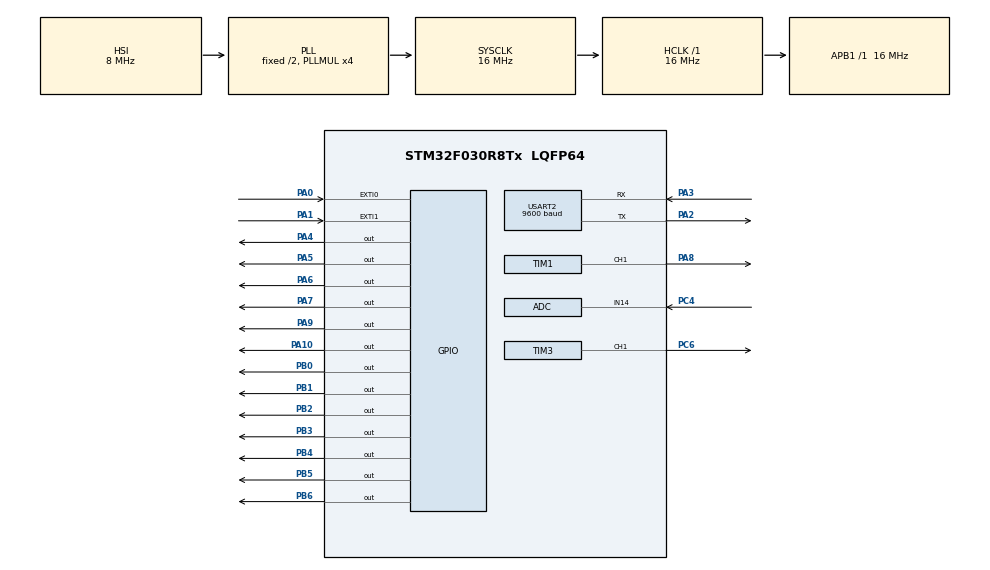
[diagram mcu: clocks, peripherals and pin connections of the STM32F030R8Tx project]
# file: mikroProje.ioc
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ADC.Resolution=ADC_RESOLUTION_6B
ADC.SamplingTime=ADC_SAMPLETIME_1CYCLE_5
Mcu.Family=STM32F0
Mcu.Name=STM32F030R8Tx
Mcu.Package=LQFP64
NVIC.ADC1_IRQn=true\:0\:0\:false\:false\:true\:true\:true
NVIC.EXTI0_1_IRQn=true\:0\:0\:false\:false\:true\:true\:true
NVIC.TIM1_BRK_UP_TRG_COM_IRQn=true\:0\:0\:false\:false\:true\:true\:true
NVIC.TIM3_IRQn=true\:0\:0\:false\:false\:true\:true\:true
NVIC.USART2_IRQn=true\:0\:0\:false\:false\:true\:true\:true
PA0.GPIO_ModeDefaultEXTI=GPIO_MODE_IT_RISING
PA0.Signal=GPXTI0
PA1.GPIO_ModeDefaultEXTI=GPIO_MODE_IT_RISING
PA1.Signal=GPXTI1
PA10.Signal=GPIO_Output
PA2.Mode=Asynchronous
PA2.Signal=USART2_TX
PA3.Mode=Asynchronous
PA3.Signal=USART2_RX
PA4.Signal=GPIO_Output
PA5.Signal=GPIO_Output
PA6.Signal=GPIO_Output
PA7.Signal=GPIO_Output
PA8.Signal=S_TIM1_CH1
PA9.Signal=GPIO_Output
PB0.Signal=GPIO_Output
PB1.Signal=GPIO_Output
PB2.Signal=GPIO_Output
PB3.Signal=GPIO_Output
PB4.Signal=GPIO_Output
PB5.Signal=GPIO_Output
PB6.Signal=GPIO_Output
PC4.Mode=IN14
PC4.Signal=ADC_IN14
PC6.Signal=S_TIM3_CH1
ProjectManager.HeapSize=0x200
ProjectManager.StackSize=0x400
ProjectManager.TargetToolchain=MDK-ARM V5
RCC.AHBFreq_Value=16000000
RCC.APB1Freq_Value=16000000
RCC.APB1TimFreq_Value=16000000
RCC.HCLKFreq_Value=16000000
RCC.PLLMUL=RCC_PLL_MUL4
RCC.SYSCLKFreq_VALUE=16000000
RCC.SYSCLKSource=RCC_SYSCLKSOURCE_PLLCLK
SH.S_TIM1_CH1.0=TIM1_CH1,PWM Generation1 CH1
SH.S_TIM3_CH1.0=TIM3_CH1,PWM Generation1 CH1
TIM1.Channel-PWM\ Generation1\ CH1=TIM_CHANNEL_1
TIM1.Period=1999
TIM1.Prescaler=39999
TIM3.Channel-PWM\ Generation1\ CH1=TIM_CHANNEL_1
TIM3.OCMode_PWM-PWM\ Generation1\ CH1=TIM_OCMODE_PWM1
TIM3.Period=1999
TIM3.Prescaler=3999
USART2.BaudRate=9600
USART2.VirtualMode-Asynchronous=VM_ASYNC
board=custom

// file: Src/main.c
/* USER CODE BEGIN Header */
/**
  **************************
  * @file           : main.c
  * @brief          : Main program body
  **************************
  * @attention
  *
  * <h2><center>&copy; Copyright (c) 2020 STMicroelectronics.
  * All rights reserved.</center></h2>
  *
  * This software component is licensed by ST under BSD 3-Clause license,
  * the "License"; You may not use this file except in compliance with the
  * License. You may obtain a copy of the License at:
  *                        opensource.org/licenses/BSD-3-Clause
  *
  **************************
  */
/* USER CODE END Header */

#include "main.h"

/* USER CODE BEGIN PD */
int adc_value;
int sicak_urun;
int soguk_urun;
int genel_urun = 0;
int run = 0;
int temp = 0;
void portb_yaz(int s)
{
    switch (s)
    {
    case 0:
        GPIOB->ODR = 0x003F;
        break;
    case 1:
        GPIOB->ODR = 0x0006;
        break;
    case 2:
        GPIOB->ODR = 0x005B;
        break;
    case 3:
        GPIOB->ODR = 0x004F;
        break;
    case 4:
        GPIOB->ODR = 0x0066;
        break;
    case 5:
        GPIOB->ODR = 0x006D;
        break;
    case 6:
        GPIOB->ODR = 0x007D;
        break;
    case 7:
        GPIOB->ODR = 0x0007;
        break;
    case 8:
        GPIOB->ODR = 0x007F;
        break;
    case 9:
        GPIOB->ODR = 0x006F;
        break;
    default:
        GPIOB->ODR = 0x003F;
        break;
    }
}
void display()
{
    if (genel_urun != 100 || genel_urun != 199)
    {
        temp = genel_urun;
        int birler_bas = temp % 10;
        temp = temp / 10;
        int on_bas = temp % 10;
        HAL_GPIO_WritePin(GPIOA, GPIO_PIN_10, GPIO_PIN_RESET);
        HAL_GPIO_WritePin(GPIOA, GPIO_PIN_9, GPIO_PIN_RESET);
        portb_yaz(on_bas);
        HAL_GPIO_WritePin(GPIOA, GPIO_PIN_10, GPIO_PIN_SET);
        HAL_GPIO_WritePin(GPIOA, GPIO_PIN_9, GPIO_PIN_RESET);
        HAL_Delay(5);
        HAL_GPIO_WritePin(GPIOA, GPIO_PIN_10, GPIO_PIN_RESET);
        HAL_GPIO_WritePin(GPIOA, GPIO_PIN_9, GPIO_PIN_RESET);

        HAL_GPIO_WritePin(GPIOA, GPIO_PIN_10, GPIO_PIN_RESET);
        HAL_GPIO_WritePin(GPIOA, GPIO_PIN_9, GPIO_PIN_RESET);
        portb_yaz(birler_bas);
        HAL_GPIO_WritePin(GPIOA, GPIO_PIN_10, GPIO_PIN_RESET);
        HAL_GPIO_WritePin(GPIOA, GPIO_PIN_9, GPIO_PIN_SET);
        HAL_Delay(5);
        HAL_GPIO_WritePin(GPIOA, GPIO_PIN_10, GPIO_PIN_RESET);
        HAL_GPIO_WritePin(GPIOA, GPIO_PIN_9, GPIO_PIN_RESET);
    }
    if (genel_urun >= 100 && genel_urun <= 199)
    {
        HAL_GPIO_WritePin(GPIOA, GPIO_PIN_6, GPIO_PIN_SET);
    }
    if (genel_urun >= 200)
    {
        HAL_GPIO_WritePin(GPIOA, GPIO_PIN_6, GPIO_PIN_RESET);
        HAL_Delay(3000);
        HAL_GPIO_WritePin(GPIOA, GPIO_PIN_6, GPIO_PIN_SET);
        HAL_Delay(3000);
    }
}

/* USER CODE END PD */

ADC_HandleTypeDef hadc;

TIM_HandleTypeDef htim1;
TIM_HandleTypeDef htim3;

UART_HandleTypeDef huart2;

void SystemClock_Config(void);
static void MX_GPIO_Init(void);
static void MX_ADC_Init(void);
static void MX_TIM3_Init(void);
static void MX_USART2_UART_Init(void);
static void MX_TIM1_Init(void);

int main(void)
{

  /* MCU Configuration--------------------------------------------------------*/

  /* Reset of all peripherals, Initializes the Flash interface and the Systick. */
  HAL_Init();

  /* Configure the system clock */
  SystemClock_Config();

  /* Initialize all configured peripherals */
  MX_GPIO_Init();
  MX_ADC_Init();
  MX_TIM3_Init();
  MX_USART2_UART_Init();
  MX_TIM1_Init();
  /* USER CODE BEGIN 2 */
	__HAL_UART_ENABLE_IT(&huart2,UART_IT_RXNE);
	HAL_TIM_Base_Start_IT(&htim1);
	HAL_TIM_Base_Start_IT(&htim3);
	HAL_ADC_Start_IT(&hadc);
  /* USER CODE END 2 */

  /* Infinite loop */
  /* USER CODE BEGIN WHILE */
	HAL_TIM_Base_Start_IT(&htim1);
	HAL_TIM_Base_Start_IT(&htim3);
	HAL_ADC_Start_IT(&hadc);

  while (1)
	{
    /* USER CODE END WHILE */

    /* USER CODE BEGIN 3 */

    if (run % 2 == 1)
    {
        display();
    }
	}
  /* USER CODE END 3 */
}

void SystemClock_Config(void)
{
  RCC_OscInitTypeDef RCC_OscInitStruct = {0};
  RCC_ClkInitTypeDef RCC_ClkInitStruct = {0};

  /** Initializes the CPU, AHB and APB busses clocks
  */
  RCC_OscInitStruct.OscillatorType = RCC_OSCILLATORTYPE_HSI|RCC_OSCILLATORTYPE_HSI14;
  RCC_OscInitStruct.HSIState = RCC_HSI_ON;
  RCC_OscInitStruct.HSI14State = RCC_HSI14_ON;
  RCC_OscInitStruct.HSICalibrationValue = RCC_HSICALIBRATION_DEFAULT;
  RCC_OscInitStruct.HSI14CalibrationValue = 16;
  RCC_OscInitStruct.PLL.PLLState = RCC_PLL_ON;
  RCC_OscInitStruct.PLL.PLLSource = RCC_PLLSOURCE_HSI;
  RCC_OscInitStruct.PLL.PLLMUL = RCC_PLL_MUL4;
  RCC_OscInitStruct.PLL.PREDIV = RCC_PREDIV_DIV1;
  if (HAL_RCC_OscConfig(&RCC_OscInitStruct) != HAL_OK)
  {
    Error_Handler();
  }
  /** Initializes the CPU, AHB and APB busses clocks
  */
  RCC_ClkInitStruct.ClockType = RCC_CLOCKTYPE_HCLK|RCC_CLOCKTYPE_SYSCLK
                              |RCC_CLOCKTYPE_PCLK1;
  RCC_ClkInitStruct.SYSCLKSource = RCC_SYSCLKSOURCE_PLLCLK;
  RCC_ClkInitStruct.AHBCLKDivider = RCC_SYSCLK_DIV1;
  RCC_ClkInitStruct.APB1CLKDivider = RCC_HCLK_DIV1;

  if (HAL_RCC_ClockConfig(&RCC_ClkInitStruct, FLASH_LATENCY_0) != HAL_OK)
  {
    Error_Handler();
  }
}

static void MX_ADC_Init(void)
{

  ADC_ChannelConfTypeDef sConfig = {0};

  /** Configure the global features of the ADC (Clock, Resolution, Data Alignment and number of conversion)
  */
  hadc.Instance = ADC1;
  hadc.Init.ClockPrescaler = ADC_CLOCK_ASYNC_DIV1;
  hadc.Init.Resolution = ADC_RESOLUTION_6B;
  hadc.Init.DataAlign = ADC_DATAALIGN_RIGHT;
  hadc.Init.ScanConvMode = ADC_SCAN_DIRECTION_FORWARD;
  hadc.Init.EOCSelection = ADC_EOC_SINGLE_CONV;
  hadc.Init.LowPowerAutoWait = DISABLE;
  hadc.Init.LowPowerAutoPowerOff = DISABLE;
  hadc.Init.ContinuousConvMode = DISABLE;
  hadc.Init.DiscontinuousConvMode = DISABLE;
  hadc.Init.ExternalTrigConv = ADC_SOFTWARE_START;
  hadc.Init.ExternalTrigConvEdge = ADC_EXTERNALTRIGCONVEDGE_NONE;
  hadc.Init.DMAContinuousRequests = DISABLE;
  hadc.Init.Overrun = ADC_OVR_DATA_PRESERVED;
  if (HAL_ADC_Init(&hadc) != HAL_OK)
  {
    Error_Handler();
  }
  /** Configure for the selected ADC regular channel to be converted.
  */
  sConfig.Channel = ADC_CHANNEL_14;
  sConfig.Rank = ADC_RANK_CHANNEL_NUMBER;
  sConfig.SamplingTime = ADC_SAMPLETIME_1CYCLE_5;
  if (HAL_ADC_ConfigChannel(&hadc, &sConfig) != HAL_OK)
  {
    Error_Handler();
  }

}

static void MX_TIM1_Init(void)
{

  TIM_MasterConfigTypeDef sMasterConfig = {0};
  TIM_OC_InitTypeDef sConfigOC = {0};
  TIM_BreakDeadTimeConfigTypeDef sBreakDeadTimeConfig = {0};

  htim1.Instance = TIM1;
  htim1.Init.Prescaler = 39999;
  htim1.Init.CounterMode = TIM_COUNTERMODE_UP;
  htim1.Init.Period = 1999;
  htim1.Init.ClockDivision = TIM_CLOCKDIVISION_DIV1;
  htim1.Init.RepetitionCounter = 0;
  htim1.Init.AutoReloadPreload = TIM_AUTORELOAD_PRELOAD_DISABLE;
  if (HAL_TIM_PWM_Init(&htim1) != HAL_OK)
  {
    Error_Handler();
  }
  sMasterConfig.MasterOutputTrigger = TIM_TRGO_RESET;
  sMasterConfig.MasterSlaveMode = TIM_MASTERSLAVEMODE_DISABLE;
  if (HAL_TIMEx_MasterConfigSynchronization(&htim1, &sMasterConfig) != HAL_OK)
  {
    Error_Handler();
  }
  sConfigOC.OCMode = TIM_OCMODE_PWM1;
  sConfigOC.Pulse = 0;
  sConfigOC.OCPolarity = TIM_OCPOLARITY_HIGH;
  sConfigOC.OCNPolarity = TIM_OCNPOLARITY_HIGH;
  sConfigOC.OCFastMode = TIM_OCFAST_DISABLE;
  sConfigOC.OCIdleState = TIM_OCIDLESTATE_RESET;
  sConfigOC.OCNIdleState = TIM_OCNIDLESTATE_RESET;
  if (HAL_TIM_PWM_ConfigChannel(&htim1, &sConfigOC, TIM_CHANNEL_1) != HAL_OK)
  {
    Error_Handler();
  }
  sBreakDeadTimeConfig.OffStateRunMode = TIM_OSSR_DISABLE;
  sBreakDeadTimeConfig.OffStateIDLEMode = TIM_OSSI_DISABLE;
  sBreakDeadTimeConfig.LockLevel = TIM_LOCKLEVEL_OFF;
  sBreakDeadTimeConfig.DeadTime = 0;
  sBreakDeadTimeConfig.BreakState = TIM_BREAK_DISABLE;
  sBreakDeadTimeConfig.BreakPolarity = TIM_BREAKPOLARITY_HIGH;
  sBreakDeadTimeConfig.AutomaticOutput = TIM_AUTOMATICOUTPUT_DISABLE;
  if (HAL_TIMEx_ConfigBreakDeadTime(&htim1, &sBreakDeadTimeConfig) != HAL_OK)
  {
    Error_Handler();
  }
  HAL_TIM_MspPostInit(&htim1);

}

static void MX_TIM3_Init(void)
{

  TIM_MasterConfigTypeDef sMasterConfig = {0};
  TIM_OC_InitTypeDef sConfigOC = {0};

  htim3.Instance = TIM3;
  htim3.Init.Prescaler = 3999;
  htim3.Init.CounterMode = TIM_COUNTERMODE_UP;
  htim3.Init.Period = 1999;
  htim3.Init.ClockDivision = TIM_CLOCKDIVISION_DIV1;
  htim3.Init.AutoReloadPreload = TIM_AUTORELOAD_PRELOAD_DISABLE;
  if (HAL_TIM_PWM_Init(&htim3) != HAL_OK)
  {
    Error_Handler();
  }
  sMasterConfig.MasterOutputTrigger = TIM_TRGO_RESET;
  sMasterConfig.MasterSlaveMode = TIM_MASTERSLAVEMODE_DISABLE;
  if (HAL_TIMEx_MasterConfigSynchronization(&htim3, &sMasterConfig) != HAL_OK)
  {
    Error_Handler();
  }
  sConfigOC.OCMode = TIM_OCMODE_PWM1;
  sConfigOC.Pulse = 0;
  sConfigOC.OCPolarity = TIM_OCPOLARITY_HIGH;
  sConfigOC.OCFastMode = TIM_OCFAST_DISABLE;
  if (HAL_TIM_PWM_ConfigChannel(&htim3, &sConfigOC, TIM_CHANNEL_1) != HAL_OK)
  {
    Error_Handler();
  }
  HAL_TIM_MspPostInit(&htim3);

}

static void MX_USART2_UART_Init(void)
{

  huart2.Instance = USART2;
  huart2.Init.BaudRate = 9600;
  huart2.Init.WordLength = UART_WORDLENGTH_8B;
  huart2.Init.StopBits = UART_STOPBITS_1;
  huart2.Init.Parity = UART_PARITY_NONE;
  huart2.Init.Mode = UART_MODE_TX_RX;
  huart2.Init.HwFlowCtl = UART_HWCONTROL_NONE;
  huart2.Init.OverSampling = UART_OVERSAMPLING_16;
  huart2.Init.OneBitSampling = UART_ONE_BIT_SAMPLE_DISABLE;
  huart2.AdvancedInit.AdvFeatureInit = UART_ADVFEATURE_NO_INIT;
  if (HAL_UART_Init(&huart2) != HAL_OK)
  {
    Error_Handler();
  }

}

static void MX_GPIO_Init(void)
{
  GPIO_InitTypeDef GPIO_InitStruct = {0};

  /* GPIO Ports Clock Enable */
  __HAL_RCC_GPIOA_CLK_ENABLE();
  __HAL_RCC_GPIOC_CLK_ENABLE();
  __HAL_RCC_GPIOB_CLK_ENABLE();

  /*Configure GPIO pin Output Level */
  HAL_GPIO_WritePin(GPIOA, GPIO_PIN_4|GPIO_PIN_5|GPIO_PIN_6|GPIO_PIN_7
                          |GPIO_PIN_9|GPIO_PIN_10, GPIO_PIN_RESET);

  /*Configure GPIO pin Output Level */
  HAL_GPIO_WritePin(GPIOB, GPIO_PIN_0|GPIO_PIN_1|GPIO_PIN_2|GPIO_PIN_3
                          |GPIO_PIN_4|GPIO_PIN_5|GPIO_PIN_6, GPIO_PIN_RESET);

  /*Configure GPIO pins : PA0 PA1 */
  GPIO_InitStruct.Pin = GPIO_PIN_0|GPIO_PIN_1;
  GPIO_InitStruct.Mode = GPIO_MODE_IT_RISING;
  GPIO_InitStruct.Pull = GPIO_NOPULL;
  HAL_GPIO_Init(GPIOA, &GPIO_InitStruct);

  /*Configure GPIO pins : PA4 PA5 PA6 PA7
                           PA9 PA10 */
  GPIO_InitStruct.Pin = GPIO_PIN_4|GPIO_PIN_5|GPIO_PIN_6|GPIO_PIN_7
                          |GPIO_PIN_9|GPIO_PIN_10;
  GPIO_InitStruct.Mode = GPIO_MODE_OUTPUT_PP;
  GPIO_InitStruct.Pull = GPIO_NOPULL;
  GPIO_InitStruct.Speed = GPIO_SPEED_FREQ_LOW;
  HAL_GPIO_Init(GPIOA, &GPIO_InitStruct);

  /*Configure GPIO pins : PB0 PB1 PB2 PB3
                           PB4 PB5 PB6 */
  GPIO_InitStruct.Pin = GPIO_PIN_0|GPIO_PIN_1|GPIO_PIN_2|GPIO_PIN_3
                          |GPIO_PIN_4|GPIO_PIN_5|GPIO_PIN_6;
  GPIO_InitStruct.Mode = GPIO_MODE_OUTPUT_PP;
  GPIO_InitStruct.Pull = GPIO_NOPULL;
  GPIO_InitStruct.Speed = GPIO_SPEED_FREQ_LOW;
  HAL_GPIO_Init(GPIOB, &GPIO_InitStruct);

  /* EXTI interrupt init*/
  HAL_NVIC_SetPriority(EXTI0_1_IRQn, 0, 0);
  HAL_NVIC_EnableIRQ(EXTI0_1_IRQn);

}

void Error_Handler(void)
{
}

/************************ (C) COPYRIGHT STMicroelectronics *****END OF FILE****/
